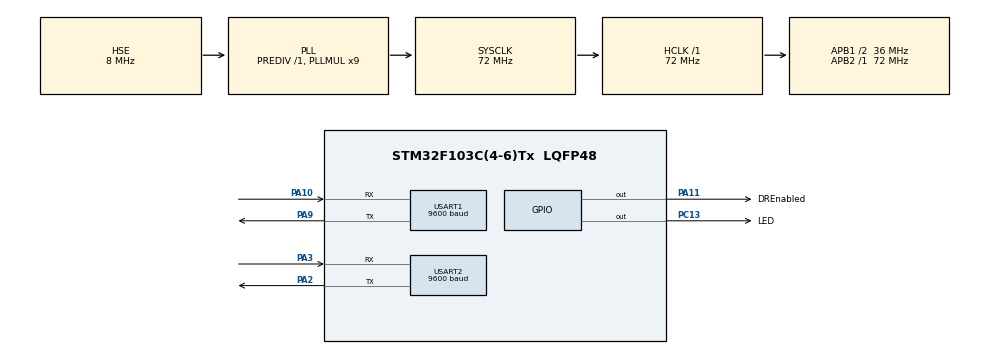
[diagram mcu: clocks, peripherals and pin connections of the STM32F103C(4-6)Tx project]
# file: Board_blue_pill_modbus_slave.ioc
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Mcu.Family=STM32F1
Mcu.Name=STM32F103C(4-6)Tx
Mcu.Package=LQFP48
NVIC.PriorityGroup=NVIC_PRIORITYGROUP_4
NVIC.USART1_IRQn=true\:0\:0\:false\:false\:true\:true\:true\:true
PA10.Mode=Asynchronous
PA10.Signal=USART1_RX
PA11.GPIO_Label=DREnabled
PA11.Signal=GPIO_Output
PA13.Mode=Serial_Wire
PA13.Signal=SYS_JTMS-SWDIO
PA14.Mode=Serial_Wire
PA14.Signal=SYS_JTCK-SWCLK
PA2.Mode=Asynchronous
PA2.Signal=USART2_TX
PA3.Mode=Asynchronous
PA3.Signal=USART2_RX
PA9.Mode=Asynchronous
PA9.Signal=USART1_TX
PC13-TAMPER-RTC.GPIO_Label=LED
PC13-TAMPER-RTC.Signal=GPIO_Output
PD0-OSC_IN.Mode=HSE-External-Oscillator
PD0-OSC_IN.Signal=RCC_OSC_IN
PD1-OSC_OUT.Mode=HSE-External-Oscillator
PD1-OSC_OUT.Signal=RCC_OSC_OUT
ProjectManager.HeapSize=0x200
ProjectManager.StackSize=0x400
ProjectManager.TargetToolchain=STM32CubeIDE
RCC.AHBFreq_Value=72000000
RCC.APB1CLKDivider=RCC_HCLK_DIV2
RCC.APB1Freq_Value=36000000
RCC.APB1TimFreq_Value=72000000
RCC.APB2Freq_Value=72000000
RCC.APB2TimFreq_Value=72000000
RCC.HCLKFreq_Value=72000000
RCC.PLLMUL=RCC_PLL_MUL9
RCC.PLLSourceVirtual=RCC_PLLSOURCE_HSE
RCC.SYSCLKFreq_VALUE=72000000
RCC.SYSCLKSource=RCC_SYSCLKSOURCE_PLLCLK
RCC.USBFreq_Value=72000000
USART1.BaudRate=9600
USART1.VirtualMode=VM_ASYNC
USART2.BaudRate=9600
USART2.VirtualMode=VM_ASYNC
board=custom

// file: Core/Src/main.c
/* USER CODE BEGIN Header */
/**
 ******************************************************************************
 * @file           : main.c
 * @brief          : Main program body
 ******************************************************************************
 * @attention
 *
 * Copyright (c) 2025 STMicroelectronics.
 * All rights reserved.
 *
 * This software is licensed under terms that can be found in the LICENSE file
 * in the root directory of this software component.
 * If no LICENSE file comes with this software, it is provided AS-IS.
 *
 ******************************************************************************
 */
/* USER CODE END Header */
#include "main.h"

/* USER CODE BEGIN Includes */
#include "modbus.h"
#include "flashmemory.h"
#include <stdio.h>
/* USER CODE END Includes */

/* USER CODE BEGIN PD */
//#define FLASH_SIZE_KB           (*(__IO uint16_t *)(0x1FFFF7E0))  // Размер флеш в КБ
//#define FLASH_PAGE_SIZE         ((FLASH_SIZE_KB <= 128) ? 1024 : 2048)  // Размер страницы в байтах
//#define FLASH_END_ADDR          (0x08000000 + (FLASH_SIZE_KB * 1024) - 1)  // Конец флеш-памяти
//#define FLASH_LAST_PAGE_ADDR    (FLASH_END_ADDR - FLASH_PAGE_SIZE + 1)  // Адрес последней страницы
//#define FLASH_PAGE_SIZE         1024  // Размер страницы в байтах
//#define FLASH_END_ADDR          0x08007FFF  // Конец флеш-памяти (для 64 КБ - 0x0800FFFF) (для 64 КБ - 0x08007FFF)
//#define FLASH_LAST_PAGE_ADDR    (FLASH_END_ADDR - FLASH_PAGE_SIZE + 1)  // Адрес последней страницы: 0x0800FC00
/* USER CODE END PD */

/* USER CODE BEGIN PM */
#define FLASH_DATA_SIZE 52        // Максимальный размер данных для страницы из 1024 байт и чтения по 32 байта
/* USER CODE END PM */

UART_HandleTypeDef huart1;
UART_HandleTypeDef huart2;

/* USER CODE BEGIN PV */

//--------ДЛЯ FLASH-------
//------------------------
//------------------------
uint32_t flash_data[FLASH_DATA_SIZE];     // Данные из Flash памяти
uint32_t now_offset = 0; 				  // Чисто для отладки, чтобы записывало разные числа

//------ДЛЯ ТАЙМЕРОВ------
//------------------------
//------------------------
uint32_t time_from_last_rxint = 0;
uint32_t time_from_last_write_flash = 0;
uint32_t time_from_last_read_flash = 0;
//------------------------
//------------------------
//------------------------

//------ДЛЯ MODBUS--------
//------------------------
//------------------------
uint8_t rx_buffer[256];                // Буфер для приема запросов
uint8_t rx_real_size = 0;
uint8_t func_code = 0;

uint8_t response_buffer[MODBUS_MAX_ADU_SIZE];
uint16_t resp_length;

ModbusDevice *device = NULL;
//------------------------
//------------------------
//------------------------
/* USER CODE END PV */

void SystemClock_Config(void);
static void MX_GPIO_Init(void);
static void MX_USART1_UART_Init(void);
static void MX_USART2_UART_Init(void);
/* USER CODE BEGIN PFP */
void Send_Message(void);
void PrintHexArray8(const uint8_t *array, int length);
void PrintHexArray16(const uint16_t *array, int length);
void PrintHexArray32(const uint32_t *array, int length);
/* USER CODE END PFP */

int main(void) {

	/* MCU Configuration--------------------------------------------------------*/

	/* Reset of all peripherals, Initializes the Flash interface and the Systick. */
	HAL_Init();

	/* Configure the system clock */
	SystemClock_Config();

	/* Initialize all configured peripherals */
	MX_GPIO_Init();
	MX_USART1_UART_Init();
	MX_USART2_UART_Init();
	/* USER CODE BEGIN 2 */

	time_from_last_read_flash = HAL_GetTick();
	time_from_last_write_flash = HAL_GetTick();
	time_from_last_rxint = HAL_GetTick();
	device = modbus_init_device(100, 100, 100, 100); // Инициализация устройства Modbus

	// УЖАСНАЯ БАГА С HAL_UART_Receive_IT
	// ЕСЛИ ПОСТАВИТЬ Flash_Init до HAL_UART_Receive_IT, то прерывания НЕ ПРИХОДЯТ!
	// Flash_Init();
	// HAL_UART_Receive_IT(&huart1, rx_buffer, 8);      // Начинаем прием запросов
	// HAL_GPIO_WritePin(GPIOA, DREnabled_Pin, GPIO_PIN_RESET);
	HAL_UART_Receive_IT(&huart1, rx_buffer, 8);      // Начинаем прием запросов
	HAL_GPIO_WritePin(GPIOA, DREnabled_Pin, GPIO_PIN_RESET);

	Flash_Init();

	/* USER CODE END 2 */

	/* Infinite loop */
	while (1) {

		/* USER CODE BEGIN 3 */
		// Для перезапуска прерываний uart (если залагал)
		if (HAL_GetTick() - time_from_last_rxint > 5000) {
			HAL_UART_AbortReceive(&huart1);  // Аварийная остановка приема (если он был запущен)
			HAL_UART_Receive_IT(&huart1, rx_buffer, 8);      // Начинаем прием запросов
			time_from_last_rxint = HAL_GetTick();
		}

		// Для чтения из в flash каждую секунду
		if (HAL_GetTick() - time_from_last_read_flash > 1000) {
			time_from_last_read_flash = HAL_GetTick();

			Flash_Read_Last_Page_32bit(flash_data, FLASH_DATA_SIZE);

			printf("Read from flash: ");
			PrintHexArray32(flash_data, FLASH_DATA_SIZE);
		}

		// Для записи в flash память через 5 секунд работы
		if (HAL_GetTick() - time_from_last_write_flash > 60000) {
			time_from_last_write_flash = HAL_GetTick();

			for (uint32_t i = 0; i < FLASH_DATA_SIZE; i++) {
				flash_data[i] = i + now_offset;
			}
			Flash_Write_Last_Page_32bit(flash_data, FLASH_DATA_SIZE);

			printf("Write in flash: ");
			PrintHexArray32(flash_data, FLASH_DATA_SIZE);

			now_offset += 52;
		}
	}
	/* USER CODE END 3 */
}

void SystemClock_Config(void) {
	RCC_OscInitTypeDef RCC_OscInitStruct = { 0 };
	RCC_ClkInitTypeDef RCC_ClkInitStruct = { 0 };

	RCC_OscInitStruct.OscillatorType = RCC_OSCILLATORTYPE_HSE;
	RCC_OscInitStruct.HSEState = RCC_HSE_ON;
	RCC_OscInitStruct.HSEPredivValue = RCC_HSE_PREDIV_DIV1;
	RCC_OscInitStruct.HSIState = RCC_HSI_ON;
	RCC_OscInitStruct.PLL.PLLState = RCC_PLL_ON;
	RCC_OscInitStruct.PLL.PLLSource = RCC_PLLSOURCE_HSE;
	RCC_OscInitStruct.PLL.PLLMUL = RCC_PLL_MUL9;
	if (HAL_RCC_OscConfig(&RCC_OscInitStruct) != HAL_OK) {
		Error_Handler();
	}

	RCC_ClkInitStruct.ClockType = RCC_CLOCKTYPE_HCLK | RCC_CLOCKTYPE_SYSCLK | RCC_CLOCKTYPE_PCLK1 | RCC_CLOCKTYPE_PCLK2;
	RCC_ClkInitStruct.SYSCLKSource = RCC_SYSCLKSOURCE_PLLCLK;
	RCC_ClkInitStruct.AHBCLKDivider = RCC_SYSCLK_DIV1;
	RCC_ClkInitStruct.APB1CLKDivider = RCC_HCLK_DIV2;
	RCC_ClkInitStruct.APB2CLKDivider = RCC_HCLK_DIV1;

	if (HAL_RCC_ClockConfig(&RCC_ClkInitStruct, FLASH_LATENCY_2) != HAL_OK) {
		Error_Handler();
	}
}

static void MX_USART1_UART_Init(void) {
	huart1.Instance = USART1;
	huart1.Init.BaudRate = 9600;
	huart1.Init.WordLength = UART_WORDLENGTH_8B;
	huart1.Init.StopBits = UART_STOPBITS_1;
	huart1.Init.Parity = UART_PARITY_NONE;
	huart1.Init.Mode = UART_MODE_TX_RX;
	huart1.Init.HwFlowCtl = UART_HWCONTROL_NONE;
	huart1.Init.OverSampling = UART_OVERSAMPLING_16;
	if (HAL_UART_Init(&huart1) != HAL_OK) {
		Error_Handler();
	}
}

static void MX_USART2_UART_Init(void) {
	huart2.Instance = USART2;
	huart2.Init.BaudRate = 9600;
	huart2.Init.WordLength = UART_WORDLENGTH_8B;
	huart2.Init.StopBits = UART_STOPBITS_1;
	huart2.Init.Parity = UART_PARITY_NONE;
	huart2.Init.Mode = UART_MODE_TX_RX;
	huart2.Init.HwFlowCtl = UART_HWCONTROL_NONE;
	huart2.Init.OverSampling = UART_OVERSAMPLING_16;
	if (HAL_UART_Init(&huart2) != HAL_OK) {
		Error_Handler();
	}
}

static void MX_GPIO_Init(void) {
	GPIO_InitTypeDef GPIO_InitStruct = { 0 };

	__HAL_RCC_GPIOC_CLK_ENABLE();
	__HAL_RCC_GPIOD_CLK_ENABLE();
	__HAL_RCC_GPIOA_CLK_ENABLE();

	HAL_GPIO_WritePin(LED_GPIO_Port, LED_Pin, GPIO_PIN_RESET);
	HAL_GPIO_WritePin(DREnabled_GPIO_Port, DREnabled_Pin, GPIO_PIN_RESET);

	GPIO_InitStruct.Pin = LED_Pin;
	GPIO_InitStruct.Mode = GPIO_MODE_OUTPUT_PP;
	GPIO_InitStruct.Pull = GPIO_NOPULL;
	GPIO_InitStruct.Speed = GPIO_SPEED_FREQ_LOW;
	HAL_GPIO_Init(LED_GPIO_Port, &GPIO_InitStruct);

	GPIO_InitStruct.Pin = DREnabled_Pin;
	GPIO_InitStruct.Mode = GPIO_MODE_OUTPUT_PP;
	GPIO_InitStruct.Pull = GPIO_NOPULL;
	GPIO_InitStruct.Speed = GPIO_SPEED_FREQ_LOW;
	HAL_GPIO_Init(DREnabled_GPIO_Port, &GPIO_InitStruct);
}

/* USER CODE BEGIN 4 */
void HAL_UART_RxCpltCallback(UART_HandleTypeDef *huart) {
	if (huart == &huart1) {
		HAL_GPIO_TogglePin(GPIOC, LED_Pin);
		time_from_last_rxint = HAL_GetTick();
		if (func_code == 0) {
			func_code = rx_buffer[1];
			if (func_code == 0x10 || func_code == 0x0F) {
				uint8_t ost_size = rx_buffer[6] - 1 + 2; // Остаток данных для функций 0x10 и 0x0F
				rx_real_size = 8 + ost_size;
				if (rx_real_size > sizeof(rx_buffer)) {
					func_code = 0; // Ошибка: буфер слишком мал
					rx_real_size = 0;
					HAL_UART_Receive_IT(&huart1, rx_buffer, 8);
					return;
				}
				HAL_UART_Receive_IT(&huart1, &rx_buffer[8], ost_size);
			} else {
				func_code = 0;
				rx_real_size = 0;
				modbus_process_response_from_master(device, rx_buffer, 8, response_buffer, &resp_length);
				printf("Receiving request from master: ");
				PrintHexArray8(rx_buffer, 8);
				Send_Message();
				HAL_UART_Receive_IT(&huart1, rx_buffer, 8); // Готовимся к следующему запросу
			}
		} else {
			func_code = 0;
			modbus_process_response_from_master(device, rx_buffer, rx_real_size, response_buffer, &resp_length);
			printf("Receiving request from master: ");
			PrintHexArray8(rx_buffer, rx_real_size);
			Send_Message();
			rx_real_size = 0;
			HAL_UART_Receive_IT(&huart1, rx_buffer, 8); // Готовимся к следующему запросу
		}
	}
}

void Send_Message(void) {
//    if (HAL_UART_GetState(&huart1) == HAL_UART_STATE_READY) {
	printf("Sending answer to master: ");
	PrintHexArray8(response_buffer, resp_length);
	HAL_GPIO_WritePin(GPIOA, DREnabled_Pin, GPIO_PIN_SET); // Переключаем в режим передачи
	HAL_UART_Transmit(&huart1, response_buffer, resp_length, 100); // Асинхронная отправка
	HAL_GPIO_WritePin(GPIOA, DREnabled_Pin, GPIO_PIN_RESET); // Переключаем в режим передачи
//    }
}

void PrintHexArray8(const uint8_t *array, int length) {
	for (int i = 0; i < length; i++) {
		printf("%02X ", array[i]); // %02X для HEX в верхнем регистре
	}
	printf("\n");
}

void PrintHexArray16(const uint16_t *array, int length) {
	for (int i = 0; i < length; i++) {
		printf("%04X ", array[i]); // Вывод uint16_t в HEX
	}
	printf("\n");
}

void PrintHexArray32(const uint32_t *array, int length) {
	for (int i = 0; i < length; i++) {
		printf("%08lX ", array[i]); // Используем %08lX для uint32_t
	}
	printf("\n");
}

// Перенаправление printf в UART2
int _write(int file, uint8_t *ptr, int len) {  // Лучше использовать uint8_t*
	HAL_UART_Transmit(&huart2, ptr, len, HAL_MAX_DELAY);
	return len;
}

/* USER CODE END 4 */

void Error_Handler(void) {
	__disable_irq();
	while (1) {
	}
}
